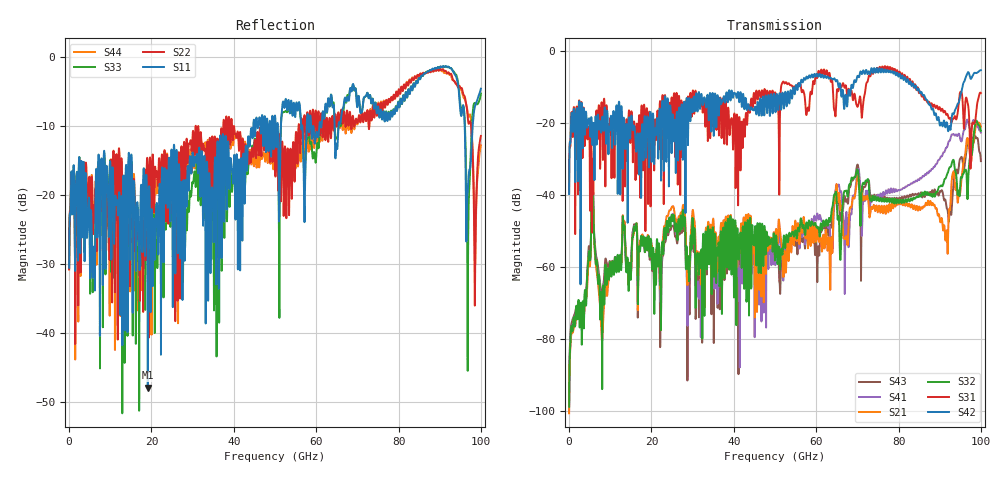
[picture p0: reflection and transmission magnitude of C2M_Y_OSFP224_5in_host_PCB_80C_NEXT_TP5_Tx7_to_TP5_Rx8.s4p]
# GHz S RI R 45
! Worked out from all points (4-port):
!   4000 points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, 25 MHz to 100 GHz, reference 45 ohm
!   strongest paths, dB at 25 MHz, 25.02 GHz, 50.02 GHz, 75.03 GHz, 100 GHz:
!     S42: -39.7, -20.6, -15.1, -6.0, -5.4
!     S31: -39.4, -13.8, -11.5, -5.4, -11.7
!     S32: -98.7, -45.8, -57.7, -40.6, -22.2
!     S21: -100.5, -43.2, -55.9, -44.5, -21.1
!     S41: -99.6, -45.8, -55.9, -39.9, -22.7
!     S43: -97.9, -48.5, -56.0, -40.8, -30.6
!   lowest |S11| = -47.9 dB at 19.12 GHz (marker M1), VSWR 1.01, Z = 45.3 + j0.14 ohm
!   |S11| at or under -10 dB: start of sweep to 44.74 GHz; 59.32 GHz to 60.78 GHz (1.455 GHz wide, 2.42 % of centre); 96.08 GHz to 98.01 GHz (1.929 GHz wide, 1.99 % of centre) (the widest 3 of 19)
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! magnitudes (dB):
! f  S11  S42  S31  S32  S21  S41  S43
! 25 MHz  -30.5  -39.7  -39.4  -98.7  -100.5  -99.6  -97.9
! 5.775 GHz  -31.3  -22.6  -31.7  -37.2  -37.3  -37.2  -37.2
! 8.025 GHz  -16.2  -18.9  -15.6  -81.4  -80.6  -72.7  -68.1
! 19.12 GHz  -47.9  -18.7  -23.8  -53.3  -51.0  -52.5  -54.7
! 91.58 GHz  -1.3  -20.2  -17.7  -35.0  -50.4  -26.9  -42.7
! 96.9 GHz  -18.6  -5.9  -15.1  -36.4  -24.7  -19.7  -25.1
! 100 GHz  -4.6  -5.4  -11.7  -22.2  -21.1  -22.7  -30.6
